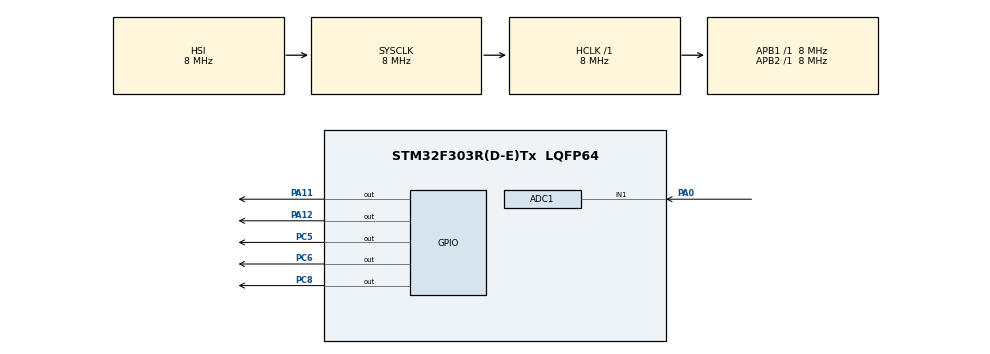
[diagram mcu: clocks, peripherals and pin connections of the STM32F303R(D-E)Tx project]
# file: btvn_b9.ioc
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ADC1.Channel-0\#ChannelRegularConversion=ADC_CHANNEL_1
ADC1.ContinuousConvMode=ENABLE
ADC1.EOCSelection=ADC_EOC_SEQ_CONV
ADC1.NbrOfConversionFlag=1
ADC1.Offset-0\#ChannelRegularConversion=0
ADC1.OffsetNumber-0\#ChannelRegularConversion=ADC_OFFSET_NONE
ADC1.Rank-0\#ChannelRegularConversion=1
ADC1.SamplingTime-0\#ChannelRegularConversion=ADC_SAMPLETIME_601CYCLES_5
ADC1.SamplingTimeOPAMP-0\#ChannelRegularConversion=ADC_SAMPLETIME_7CYCLES_5
ADC1.master=1
Mcu.Family=STM32F3
Mcu.Name=STM32F303R(D-E)Tx
Mcu.Package=LQFP64
NVIC.ADC1_2_IRQn=true\:0\:0\:false\:false\:true\:true\:true
NVIC.PriorityGroup=NVIC_PRIORITYGROUP_4
PA0.Mode=IN1-Single-Ended
PA0.Signal=ADC1_IN1
PA11.Signal=GPIO_Output
PA12.Signal=GPIO_Output
PA13.Mode=Serial_Wire
PA13.Signal=SYS_JTMS-SWDIO
PA14.Mode=Serial_Wire
PA14.Signal=SYS_JTCK-SWCLK
PC5.Signal=GPIO_Output
PC6.Signal=GPIO_Output
PC8.Signal=GPIO_Output
ProjectManager.HeapSize=0x200
ProjectManager.StackSize=0x400
ProjectManager.TargetToolchain=STM32CubeIDE
RCC.AHBFreq_Value=8000000
RCC.APB1Freq_Value=8000000
RCC.APB2Freq_Value=8000000
RCC.CortexFreq_Value=8000000
RCC.HSE_VALUE=8000000
RCC.HSI_VALUE=8000000
RCC.LSE_VALUE=32768
RCC.SYSCLKFreq_VALUE=8000000
RCC.USBFreq_Value=16000000
board=custom

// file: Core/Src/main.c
/* USER CODE BEGIN Header */
/**
  ******************************************************************************
  * @file           : main.c
  * @brief          : Main program body
  ******************************************************************************
  * @attention
  *
  * <h2><center>&copy; Copyright (c) 2021 STMicroelectronics.
  * All rights reserved.</center></h2>
  *
  * This software component is licensed by ST under BSD 3-Clause license,
  * the "License"; You may not use this file except in compliance with the
  * License. You may obtain a copy of the License at:
  *                        opensource.org/licenses/BSD-3-Clause
  *
  ******************************************************************************
  */
/* USER CODE END Header */
#include "main.h"

ADC_HandleTypeDef hadc1;

/* USER CODE BEGIN PV */
uint32_t value_adc = 0;
/* USER CODE END PV */

void SystemClock_Config(void);
static void MX_GPIO_Init(void);
static void MX_ADC1_Init(void);

/* USER CODE BEGIN 0 */
void HAL_ADC_ConvCpltCallback(ADC_HandleTypeDef* hadc){
	value_adc = HAL_ADC_GetValue(&hadc1);
	if(value_adc < 683){
		HAL_GPIO_WritePin(GPIOC, GPIO_PIN_8,GPIO_PIN_RESET);
		HAL_GPIO_WritePin(GPIOC, GPIO_PIN_5,GPIO_PIN_RESET);
		HAL_GPIO_WritePin(GPIOC, GPIO_PIN_6,GPIO_PIN_RESET);
		HAL_GPIO_WritePin(GPIOA, GPIO_PIN_12,GPIO_PIN_RESET);
		HAL_GPIO_WritePin(GPIOA, GPIO_PIN_11,GPIO_PIN_RESET);
	}
	else if(value_adc <1366){
		HAL_GPIO_WritePin(GPIOC, GPIO_PIN_8,GPIO_PIN_SET);
		HAL_GPIO_WritePin(GPIOC, GPIO_PIN_5,GPIO_PIN_RESET);
		HAL_GPIO_WritePin(GPIOC, GPIO_PIN_6,GPIO_PIN_RESET);
		HAL_GPIO_WritePin(GPIOA, GPIO_PIN_12,GPIO_PIN_RESET);
		HAL_GPIO_WritePin(GPIOA, GPIO_PIN_11,GPIO_PIN_RESET);
	}
	else if(value_adc < 2048){
		HAL_GPIO_WritePin(GPIOC, GPIO_PIN_8,GPIO_PIN_SET);
		HAL_GPIO_WritePin(GPIOC, GPIO_PIN_5,GPIO_PIN_SET);
		HAL_GPIO_WritePin(GPIOC, GPIO_PIN_6,GPIO_PIN_RESET);
		HAL_GPIO_WritePin(GPIOA, GPIO_PIN_12,GPIO_PIN_RESET);
		HAL_GPIO_WritePin(GPIOA, GPIO_PIN_11,GPIO_PIN_RESET);
	}
	else if(value_adc < 2731){
		HAL_GPIO_WritePin(GPIOC, GPIO_PIN_8,GPIO_PIN_SET);
		HAL_GPIO_WritePin(GPIOC, GPIO_PIN_5,GPIO_PIN_SET);
		HAL_GPIO_WritePin(GPIOC, GPIO_PIN_6,GPIO_PIN_SET);
		HAL_GPIO_WritePin(GPIOA, GPIO_PIN_12,GPIO_PIN_RESET);
		HAL_GPIO_WritePin(GPIOA, GPIO_PIN_11,GPIO_PIN_RESET);
	}
	else if(value_adc < 3413){
		HAL_GPIO_WritePin(GPIOC, GPIO_PIN_8,GPIO_PIN_SET);
		HAL_GPIO_WritePin(GPIOC, GPIO_PIN_5,GPIO_PIN_SET);
		HAL_GPIO_WritePin(GPIOC, GPIO_PIN_6,GPIO_PIN_SET);
		HAL_GPIO_WritePin(GPIOA, GPIO_PIN_12,GPIO_PIN_SET);
		HAL_GPIO_WritePin(GPIOA, GPIO_PIN_11,GPIO_PIN_RESET);
	}
	else{
		HAL_GPIO_WritePin(GPIOC, GPIO_PIN_8,GPIO_PIN_SET);
		HAL_GPIO_WritePin(GPIOC, GPIO_PIN_5,GPIO_PIN_SET);
		HAL_GPIO_WritePin(GPIOC, GPIO_PIN_6,GPIO_PIN_SET);
		HAL_GPIO_WritePin(GPIOA, GPIO_PIN_12,GPIO_PIN_SET);
		HAL_GPIO_WritePin(GPIOA, GPIO_PIN_11,GPIO_PIN_SET);
	}
}
/* USER CODE END 0 */

int main(void)
{

  /* MCU Configuration--------------------------------------------------------*/

  /* Reset of all peripherals, Initializes the Flash interface and the Systick. */
  HAL_Init();

  /* Configure the system clock */
  SystemClock_Config();

  /* Initialize all configured peripherals */
  MX_GPIO_Init();
  MX_ADC1_Init();
  /* USER CODE BEGIN 2 */
  HAL_ADCEx_Calibration_Start(&hadc1,ADC_SINGLE_ENDED);
  HAL_Delay(50);
  HAL_ADC_Start_IT(&hadc1);
  /* USER CODE END 2 */

  /* Infinite loop */
  while (1)
  {

  }
}

void SystemClock_Config(void)
{
  RCC_OscInitTypeDef RCC_OscInitStruct = {0};
  RCC_ClkInitTypeDef RCC_ClkInitStruct = {0};
  RCC_PeriphCLKInitTypeDef PeriphClkInit = {0};

  /** Initializes the RCC Oscillators according to the specified parameters
  * in the RCC_OscInitTypeDef structure.
  */
  RCC_OscInitStruct.OscillatorType = RCC_OSCILLATORTYPE_HSI;
  RCC_OscInitStruct.HSIState = RCC_HSI_ON;
  RCC_OscInitStruct.HSICalibrationValue = RCC_HSICALIBRATION_DEFAULT;
  RCC_OscInitStruct.PLL.PLLState = RCC_PLL_ON;
  RCC_OscInitStruct.PLL.PLLSource = RCC_PLLSOURCE_HSI;
  RCC_OscInitStruct.PLL.PLLMUL = RCC_PLL_MUL2;
  RCC_OscInitStruct.PLL.PREDIV = RCC_PREDIV_DIV1;
  if (HAL_RCC_OscConfig(&RCC_OscInitStruct) != HAL_OK)
  {
    Error_Handler();
  }
  /** Initializes the CPU, AHB and APB buses clocks
  */
  RCC_ClkInitStruct.ClockType = RCC_CLOCKTYPE_HCLK|RCC_CLOCKTYPE_SYSCLK
                              |RCC_CLOCKTYPE_PCLK1|RCC_CLOCKTYPE_PCLK2;
  RCC_ClkInitStruct.SYSCLKSource = RCC_SYSCLKSOURCE_HSI;
  RCC_ClkInitStruct.AHBCLKDivider = RCC_SYSCLK_DIV1;
  RCC_ClkInitStruct.APB1CLKDivider = RCC_HCLK_DIV1;
  RCC_ClkInitStruct.APB2CLKDivider = RCC_HCLK_DIV1;

  if (HAL_RCC_ClockConfig(&RCC_ClkInitStruct, FLASH_LATENCY_0) != HAL_OK)
  {
    Error_Handler();
  }
  PeriphClkInit.PeriphClockSelection = RCC_PERIPHCLK_ADC12;
  PeriphClkInit.Adc12ClockSelection = RCC_ADC12PLLCLK_DIV1;
  if (HAL_RCCEx_PeriphCLKConfig(&PeriphClkInit) != HAL_OK)
  {
    Error_Handler();
  }
}

static void MX_ADC1_Init(void)
{

  ADC_MultiModeTypeDef multimode = {0};
  ADC_ChannelConfTypeDef sConfig = {0};

  /** Common config
  */
  hadc1.Instance = ADC1;
  hadc1.Init.ClockPrescaler = ADC_CLOCK_ASYNC_DIV1;
  hadc1.Init.Resolution = ADC_RESOLUTION_12B;
  hadc1.Init.ScanConvMode = ADC_SCAN_DISABLE;
  hadc1.Init.ContinuousConvMode = ENABLE;
  hadc1.Init.DiscontinuousConvMode = DISABLE;
  hadc1.Init.ExternalTrigConvEdge = ADC_EXTERNALTRIGCONVEDGE_NONE;
  hadc1.Init.ExternalTrigConv = ADC_SOFTWARE_START;
  hadc1.Init.DataAlign = ADC_DATAALIGN_RIGHT;
  hadc1.Init.NbrOfConversion = 1;
  hadc1.Init.DMAContinuousRequests = DISABLE;
  hadc1.Init.EOCSelection = ADC_EOC_SEQ_CONV;
  hadc1.Init.LowPowerAutoWait = DISABLE;
  hadc1.Init.Overrun = ADC_OVR_DATA_OVERWRITTEN;
  if (HAL_ADC_Init(&hadc1) != HAL_OK)
  {
    Error_Handler();
  }
  /** Configure the ADC multi-mode
  */
  multimode.Mode = ADC_MODE_INDEPENDENT;
  if (HAL_ADCEx_MultiModeConfigChannel(&hadc1, &multimode) != HAL_OK)
  {
    Error_Handler();
  }
  /** Configure Regular Channel
  */
  sConfig.Channel = ADC_CHANNEL_1;
  sConfig.Rank = ADC_REGULAR_RANK_1;
  sConfig.SingleDiff = ADC_SINGLE_ENDED;
  sConfig.SamplingTime = ADC_SAMPLETIME_601CYCLES_5;
  sConfig.OffsetNumber = ADC_OFFSET_NONE;
  sConfig.Offset = 0;
  if (HAL_ADC_ConfigChannel(&hadc1, &sConfig) != HAL_OK)
  {
    Error_Handler();
  }

}

static void MX_GPIO_Init(void)
{
  GPIO_InitTypeDef GPIO_InitStruct = {0};

  /* GPIO Ports Clock Enable */
  __HAL_RCC_GPIOA_CLK_ENABLE();
  __HAL_RCC_GPIOC_CLK_ENABLE();

  /*Configure GPIO pin Output Level */
  HAL_GPIO_WritePin(GPIOC, GPIO_PIN_5|GPIO_PIN_6|GPIO_PIN_8, GPIO_PIN_RESET);

  /*Configure GPIO pin Output Level */
  HAL_GPIO_WritePin(GPIOA, GPIO_PIN_11|GPIO_PIN_12, GPIO_PIN_RESET);

  /*Configure GPIO pins : PC5 PC6 PC8 */
  GPIO_InitStruct.Pin = GPIO_PIN_5|GPIO_PIN_6|GPIO_PIN_8;
  GPIO_InitStruct.Mode = GPIO_MODE_OUTPUT_PP;
  GPIO_InitStruct.Pull = GPIO_NOPULL;
  GPIO_InitStruct.Speed = GPIO_SPEED_FREQ_LOW;
  HAL_GPIO_Init(GPIOC, &GPIO_InitStruct);

  /*Configure GPIO pins : PA11 PA12 */
  GPIO_InitStruct.Pin = GPIO_PIN_11|GPIO_PIN_12;
  GPIO_InitStruct.Mode = GPIO_MODE_OUTPUT_PP;
  GPIO_InitStruct.Pull = GPIO_NOPULL;
  GPIO_InitStruct.Speed = GPIO_SPEED_FREQ_LOW;
  HAL_GPIO_Init(GPIOA, &GPIO_InitStruct);

}

void Error_Handler(void)
{
  __disable_irq();
  while (1)
  {
  }
}

/************************ (C) COPYRIGHT STMicroelectronics *****END OF FILE****/
